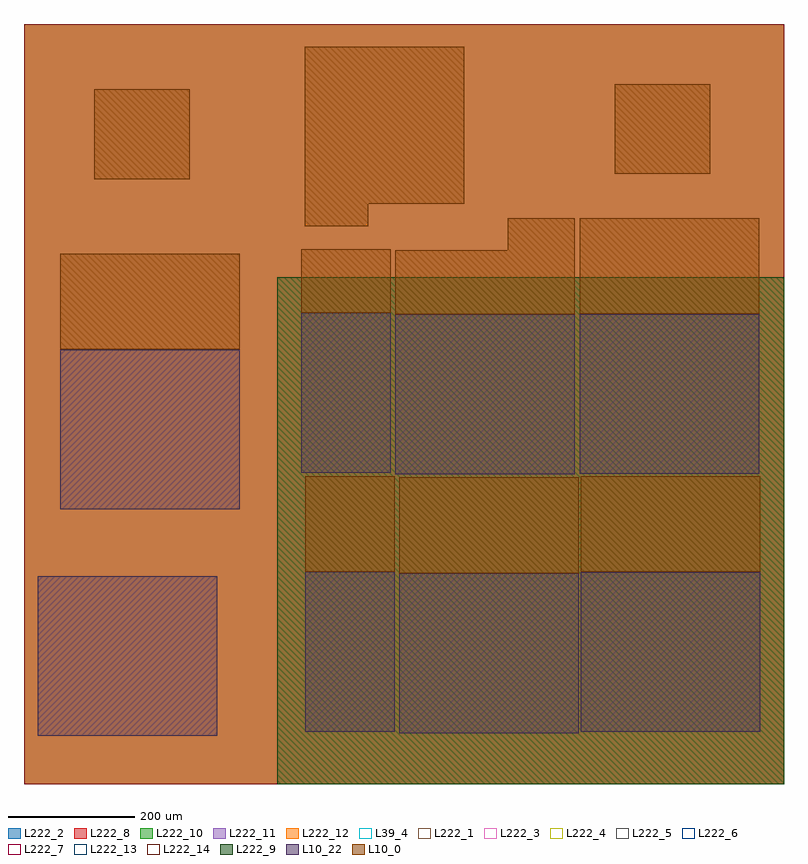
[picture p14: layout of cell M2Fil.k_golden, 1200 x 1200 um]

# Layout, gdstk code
import gdstk
lib = gdstk.Library(unit=1e-6, precision=1e-09)
def R(c, l, rs):  # rectangles x0, y0, x1, y1
    for r in rs: c.add(gdstk.rectangle(r[:2], r[2:], *l))
def A(c, l, x, y, w, h, nx, ny, dx, dy):  # array of equal rectangles
    R(c, l, [(x+i*dx, y+j*dy, x+i*dx+w, y+j*dy+h) for i in range(nx) for j in range(ny)])
L10_0 = (10, 0)
L10_22 = (10, 22)
L39_4 = (39, 4)
L222_1 = (222, 1)
L222_2 = (222, 2)
L222_3 = (222, 3)
L222_4 = (222, 4)
L222_5 = (222, 5)
L222_6 = (222, 6)
L222_7 = (222, 7)
L222_8 = (222, 8)
L222_9 = (222, 9)
L222_10 = (222, 10)
L222_11 = (222, 11)
L222_12 = (222, 12)
L222_13 = (222, 13)
L222_14 = (222, 14)

m2fil_k_golden = lib.new_cell('M2Fil.k_golden')
A(m2fil_k_golden, L10_0, 592.615, 333.007, 35, 50, 8, 3, 35.5, 50.5)
A(m2fil_k_golden, L10_0, 879.029, 334.867, 35, 50, 8, 3, 35.5, 50.5)
A(m2fil_k_golden, L10_0, 444.27, 335.255, 35, 50, 4, 3, 35.5, 50.5)
A(m2fil_k_golden, L10_0, 56.984, 686.375, 35, 50, 8, 3, 35.5, 50.5)
A(m2fil_k_golden, L10_0, 586.217, 741.946, 35, 50, 8, 2, 35.5, 50.5)
A(m2fil_k_golden, L10_0, 877.169, 742.17, 35, 50, 8, 3, 35.5, 50.5)
A(m2fil_k_golden, L10_0, 437.872, 744.194, 35, 50, 4, 2, 35.5, 50.5)
A(m2fil_k_golden, L10_0, 763.717, 842.946, 35, 50, 3, 1, 35.5, 0)
A(m2fil_k_golden, L10_0, 443.264, 916.185, 50, 35, 5, 7, 50.5, 35.5)
A(m2fil_k_golden, L10_0, 110.744, 955.09, 50, 35, 3, 4, 50.5, 35.5)
A(m2fil_k_golden, L10_0, 932.374, 963.525, 50, 35, 3, 4, 50.5, 35.5)
R(m2fil_k_golden, L10_0, [(443.264,880.685,493.264,915.685), (493.764,880.685,543.764,915.685)])
A(m2fil_k_golden, L10_22, 21.749, 75.975, 35, 50, 8, 5, 35.5, 50.5)
A(m2fil_k_golden, L10_22, 592.615, 80.507, 35, 50, 8, 5, 35.5, 50.5)
A(m2fil_k_golden, L10_22, 879.029, 82.367, 35, 50, 8, 5, 35.5, 50.5)
A(m2fil_k_golden, L10_22, 444.27, 82.755, 35, 50, 4, 5, 35.5, 50.5)
A(m2fil_k_golden, L10_22, 56.984, 433.875, 35, 50, 8, 5, 35.5, 50.5)
A(m2fil_k_golden, L10_22, 586.217, 489.446, 35, 50, 8, 5, 35.5, 50.5)
A(m2fil_k_golden, L10_22, 877.169, 489.67, 35, 50, 8, 5, 35.5, 50.5)
A(m2fil_k_golden, L10_22, 437.872, 491.694, 35, 50, 4, 5, 35.5, 50.5)
R(m2fil_k_golden, L39_4, [(0,0,1200,1200)])
R(m2fil_k_golden, L222_1, [(0,0,1200,1200)])
R(m2fil_k_golden, L222_2, [(0,0,800,800), (400,0,1200,800), (0,400,800,1200), (400,400,1200,1200)])
R(m2fil_k_golden, L222_3, [(0,0,1200,1200)])
R(m2fil_k_golden, L222_4, [(0,0,1200,1200)])
R(m2fil_k_golden, L222_5, [(0,0,1200,1200)])
R(m2fil_k_golden, L222_6, [(0,0,1200,1200)])
R(m2fil_k_golden, L222_7, [(0,0,1200,1200)])
R(m2fil_k_golden, L222_8, [(0,0,800,800), (400,0,1200,800), (0,400,800,1200), (400,400,1200,1200)])
R(m2fil_k_golden, L222_9, [(400,0,1200,800)])
R(m2fil_k_golden, L222_10, [(0,0,800,800), (400,0,1200,800), (0,400,800,1200), (400,400,1200,1200)])
R(m2fil_k_golden, L222_11, [(0,0,800,800), (400,0,1200,800), (0,400,800,1200), (400,400,1200,1200)])
R(m2fil_k_golden, L222_12, [(0,0,800,800), (400,0,1200,800), (0,400,800,1200), (400,400,1200,1200)])
R(m2fil_k_golden, L222_13, [(0,0,1200,1200)])
R(m2fil_k_golden, L222_14, [(0,0,1200,1200)])

lib.write_gds('M2Fil.k_golden.gds')
